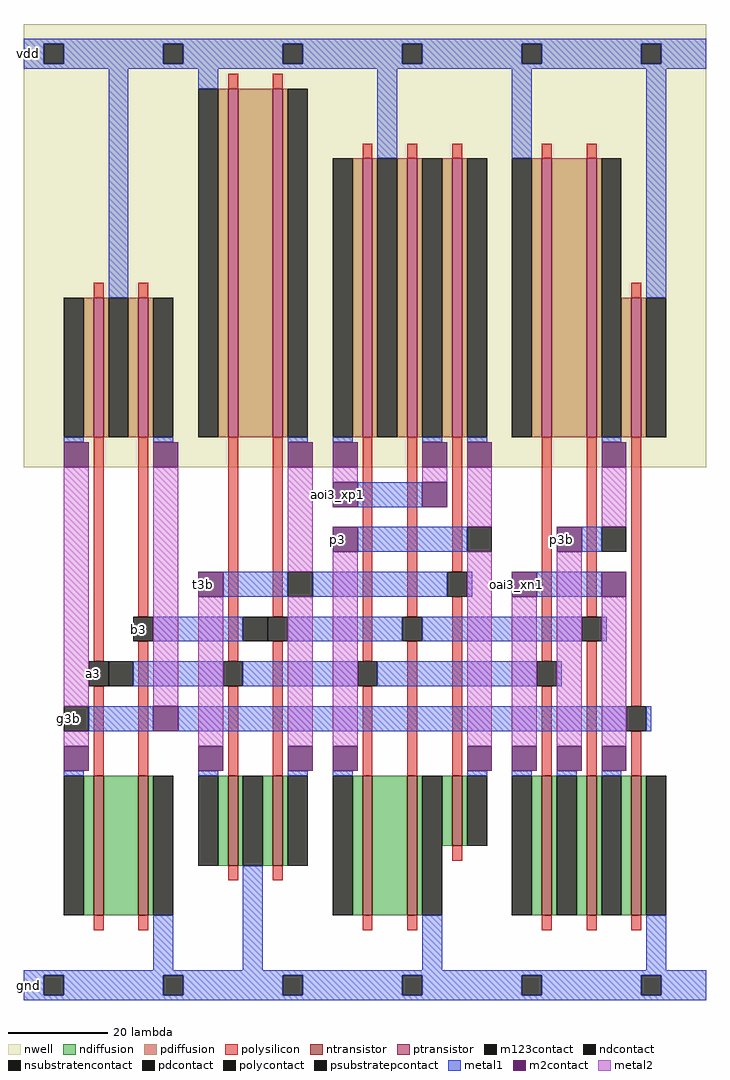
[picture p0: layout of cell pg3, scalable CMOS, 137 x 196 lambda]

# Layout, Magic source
magic
tech scmos
<< nwell >>
rect 0 107 137 196
<< ntransistor >>
rect 14 17 16 45
rect 23 17 25 45
rect 41 27 43 45
rect 50 27 52 45
rect 68 17 70 45
rect 77 17 79 45
rect 86 31 88 45
rect 104 17 106 45
rect 113 17 115 45
rect 122 17 124 45
<< ptransistor >>
rect 14 113 16 141
rect 23 113 25 141
rect 41 113 43 183
rect 50 113 52 183
rect 68 113 70 169
rect 77 113 79 169
rect 86 113 88 169
rect 104 113 106 169
rect 113 113 115 169
rect 122 113 124 141
<< ndiffusion >>
rect 12 17 14 45
rect 16 17 23 45
rect 25 17 26 45
rect 39 27 41 45
rect 43 27 44 45
rect 48 27 50 45
rect 52 27 53 45
rect 66 17 68 45
rect 70 17 77 45
rect 79 17 80 45
rect 84 31 86 45
rect 88 31 89 45
rect 102 17 104 45
rect 106 17 107 45
rect 111 17 113 45
rect 115 17 116 45
rect 120 17 122 45
rect 124 17 125 45
<< pdiffusion >>
rect 12 113 14 141
rect 16 113 17 141
rect 21 113 23 141
rect 25 113 26 141
rect 39 113 41 183
rect 43 113 50 183
rect 52 113 53 183
rect 66 113 68 169
rect 70 113 71 169
rect 75 113 77 169
rect 79 113 80 169
rect 84 113 86 169
rect 88 113 89 169
rect 102 113 104 169
rect 106 113 113 169
rect 115 113 116 169
rect 120 113 122 141
rect 124 113 125 141
<< ndcontact >>
rect 8 17 12 45
rect 26 17 30 45
rect 35 27 39 45
rect 44 27 48 45
rect 53 27 57 45
rect 62 17 66 45
rect 80 17 84 45
rect 89 31 93 45
rect 98 17 102 45
rect 107 17 111 45
rect 116 17 120 45
rect 125 17 129 45
<< pdcontact >>
rect 8 113 12 141
rect 17 113 21 141
rect 26 113 30 141
rect 35 113 39 183
rect 53 113 57 183
rect 62 113 66 169
rect 71 113 75 169
rect 80 113 84 169
rect 89 113 93 169
rect 98 113 102 169
rect 116 113 120 169
rect 125 113 129 141
<< psubstratepcontact >>
rect 4 1 8 5
rect 28 1 32 5
rect 52 1 56 5
rect 76 1 80 5
rect 100 1 104 5
rect 124 1 128 5
<< nsubstratencontact >>
rect 4 188 8 192
rect 28 188 32 192
rect 52 188 56 192
rect 76 188 80 192
rect 100 188 104 192
rect 124 188 128 192
<< polysilicon >>
rect 41 183 43 186
rect 50 183 52 186
rect 14 141 16 144
rect 23 141 25 144
rect 68 169 70 172
rect 77 169 79 172
rect 86 169 88 172
rect 104 169 106 172
rect 113 169 115 172
rect 122 141 124 144
rect 14 68 16 113
rect 23 77 25 113
rect 14 45 16 63
rect 23 45 25 72
rect 41 68 43 113
rect 50 77 52 113
rect 41 45 43 63
rect 50 45 52 72
rect 68 68 70 113
rect 77 77 79 113
rect 86 86 88 113
rect 68 45 70 63
rect 77 45 79 72
rect 86 45 88 81
rect 104 68 106 113
rect 113 77 115 113
rect 104 45 106 63
rect 113 45 115 72
rect 122 59 124 113
rect 122 45 124 54
rect 41 24 43 27
rect 50 24 52 27
rect 86 28 88 31
rect 14 14 16 17
rect 23 14 25 17
rect 68 14 70 17
rect 77 14 79 17
rect 104 14 106 17
rect 113 14 115 17
rect 122 14 124 17
<< polycontact >>
rect 22 72 26 77
rect 13 63 17 68
rect 49 72 53 77
rect 40 63 44 68
rect 85 81 89 86
rect 76 72 80 77
rect 67 63 71 68
rect 112 72 116 77
rect 103 63 107 68
rect 121 54 125 59
<< metal1 >>
rect 0 192 137 193
rect 0 188 4 192
rect 8 188 28 192
rect 32 188 52 192
rect 56 188 76 192
rect 80 188 100 192
rect 104 188 124 192
rect 128 188 137 192
rect 0 187 137 188
rect 17 141 21 187
rect 35 183 39 187
rect 71 169 75 187
rect 98 169 102 187
rect 8 112 12 113
rect 26 112 30 113
rect 53 112 57 113
rect 62 112 66 113
rect 80 112 84 113
rect 125 141 129 187
rect 89 112 93 113
rect 116 112 120 113
rect 67 99 80 104
rect 67 90 89 95
rect 112 90 116 95
rect 40 81 53 86
rect 58 81 85 86
rect 89 81 90 86
rect 103 81 116 86
rect 26 72 44 77
rect 53 72 76 77
rect 80 72 112 77
rect 116 72 117 77
rect 22 63 40 68
rect 44 63 67 68
rect 71 63 103 68
rect 107 63 108 68
rect 13 54 26 59
rect 31 54 121 59
rect 125 54 126 59
rect 8 45 12 46
rect 35 45 39 46
rect 53 45 57 46
rect 62 45 66 46
rect 89 45 93 46
rect 26 6 30 17
rect 44 6 48 27
rect 98 45 102 46
rect 107 45 111 46
rect 116 45 120 46
rect 80 6 84 17
rect 125 6 129 17
rect 0 5 137 6
rect 0 1 4 5
rect 8 1 28 5
rect 32 1 52 5
rect 56 1 76 5
rect 80 1 100 5
rect 104 1 124 5
rect 128 1 137 5
rect 0 0 137 1
<< m2contact >>
rect 8 107 13 112
rect 26 107 31 112
rect 53 107 58 112
rect 62 107 67 112
rect 80 107 85 112
rect 89 107 94 112
rect 116 107 121 112
rect 62 99 67 104
rect 80 99 85 104
rect 62 90 67 95
rect 107 90 112 95
rect 35 81 40 86
rect 98 81 103 86
rect 116 81 121 86
rect 26 54 31 59
rect 8 46 13 51
rect 35 46 40 51
rect 53 46 58 51
rect 62 46 67 51
rect 89 46 94 51
rect 98 46 103 51
rect 107 46 112 51
rect 116 46 121 51
<< metal2 >>
rect 8 59 13 107
rect 26 59 31 107
rect 53 86 58 107
rect 62 104 67 107
rect 80 104 85 107
rect 89 95 94 107
rect 116 95 121 107
rect 8 51 13 54
rect 35 51 40 81
rect 53 51 58 81
rect 62 51 67 90
rect 89 51 94 90
rect 98 51 103 81
rect 107 51 112 90
rect 116 51 121 81
<< m123contact >>
rect 17 63 22 68
rect 8 54 13 59
rect 53 81 58 86
rect 44 72 49 77
rect 89 90 94 95
rect 116 90 121 95
<< labels >>
rlabel metal1 13 63 15 68 0 a3
port 1 nsew
rlabel metal1 22 72 24 77 0 b3
port 2 nsew
rlabel metal1 8 54 10 59 0 g3b
port 3 nsew
rlabel m2contact 62 90 64 95 0 p3
port 4 nsew
rlabel m2contact 107 90 109 95 0 p3b
port 5 nsew
rlabel m2contact 35 81 37 86 0 t3b
port 6 nsew
rlabel m2contact 62 99 64 104 0 aoi3_xp1
rlabel m2contact 98 81 100 86 0 oai3_xn1
rlabel metal1 0 187 2 193 0 vdd
port 7 nsew
rlabel metal1 0 0 2 6 0 gnd
port 8 nsew
<< end >>
